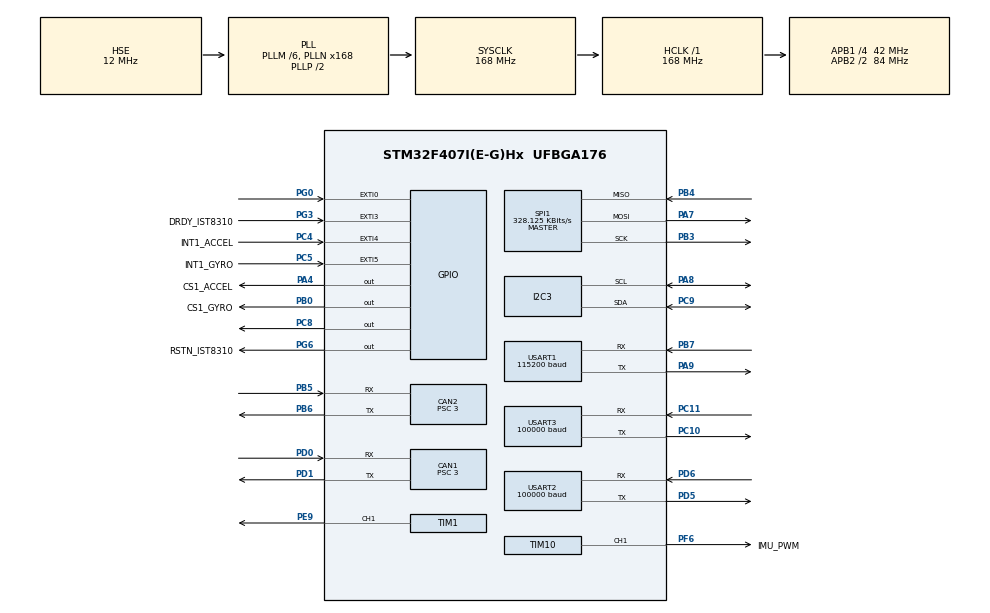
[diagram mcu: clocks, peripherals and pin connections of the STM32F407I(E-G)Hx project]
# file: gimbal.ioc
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CAN1.BS1=CAN_BS1_5TQ
CAN1.BS2=CAN_BS2_8TQ
CAN1.CalculateTimeQuantum=71.42857142857143
CAN1.Prescaler=3
CAN2.BS1=CAN_BS1_5TQ
CAN2.BS2=CAN_BS2_8TQ
CAN2.CalculateTimeQuantum=71.42857142857143
CAN2.Prescaler=3
Dma.Request0=USART3_RX
Dma.Request1=SPI1_RX
Dma.Request2=SPI1_TX
Dma.Request3=USART1_RX
Dma.Request4=USART1_TX
Dma.SPI1_RX.1.Direction=DMA_PERIPH_TO_MEMORY
Dma.SPI1_RX.1.FIFOMode=DMA_FIFOMODE_DISABLE
Dma.SPI1_RX.1.Instance=DMA2_Stream2
Dma.SPI1_RX.1.MemDataAlignment=DMA_MDATAALIGN_BYTE
Dma.SPI1_RX.1.MemInc=DMA_MINC_ENABLE
Dma.SPI1_RX.1.Mode=DMA_NORMAL
Dma.SPI1_RX.1.PeriphDataAlignment=DMA_PDATAALIGN_BYTE
Dma.SPI1_RX.1.PeriphInc=DMA_PINC_DISABLE
Dma.SPI1_RX.1.Priority=DMA_PRIORITY_VERY_HIGH
Dma.SPI1_TX.2.Direction=DMA_MEMORY_TO_PERIPH
Dma.SPI1_TX.2.FIFOMode=DMA_FIFOMODE_DISABLE
Dma.SPI1_TX.2.Instance=DMA2_Stream3
Dma.SPI1_TX.2.MemDataAlignment=DMA_MDATAALIGN_BYTE
Dma.SPI1_TX.2.MemInc=DMA_MINC_ENABLE
Dma.SPI1_TX.2.Mode=DMA_NORMAL
Dma.SPI1_TX.2.PeriphDataAlignment=DMA_PDATAALIGN_BYTE
Dma.SPI1_TX.2.PeriphInc=DMA_PINC_DISABLE
Dma.SPI1_TX.2.Priority=DMA_PRIORITY_HIGH
Dma.USART1_RX.3.Direction=DMA_PERIPH_TO_MEMORY
Dma.USART1_RX.3.FIFOMode=DMA_FIFOMODE_DISABLE
Dma.USART1_RX.3.Instance=DMA2_Stream5
Dma.USART1_RX.3.MemDataAlignment=DMA_MDATAALIGN_BYTE
Dma.USART1_RX.3.MemInc=DMA_MINC_ENABLE
Dma.USART1_RX.3.Mode=DMA_NORMAL
Dma.USART1_RX.3.PeriphDataAlignment=DMA_PDATAALIGN_BYTE
Dma.USART1_RX.3.PeriphInc=DMA_PINC_DISABLE
Dma.USART1_RX.3.Priority=DMA_PRIORITY_HIGH
Dma.USART1_TX.4.Direction=DMA_MEMORY_TO_PERIPH
Dma.USART1_TX.4.FIFOMode=DMA_FIFOMODE_DISABLE
Dma.USART1_TX.4.Instance=DMA2_Stream7
Dma.USART1_TX.4.MemDataAlignment=DMA_MDATAALIGN_BYTE
Dma.USART1_TX.4.MemInc=DMA_MINC_ENABLE
Dma.USART1_TX.4.Mode=DMA_NORMAL
Dma.USART1_TX.4.PeriphDataAlignment=DMA_PDATAALIGN_BYTE
Dma.USART1_TX.4.PeriphInc=DMA_PINC_DISABLE
Dma.USART1_TX.4.Priority=DMA_PRIORITY_MEDIUM
Dma.USART3_RX.0.Direction=DMA_PERIPH_TO_MEMORY
Dma.USART3_RX.0.FIFOMode=DMA_FIFOMODE_DISABLE
Dma.USART3_RX.0.Instance=DMA1_Stream1
Dma.USART3_RX.0.MemDataAlignment=DMA_MDATAALIGN_BYTE
Dma.USART3_RX.0.MemInc=DMA_MINC_ENABLE
Dma.USART3_RX.0.Mode=DMA_CIRCULAR
Dma.USART3_RX.0.PeriphDataAlignment=DMA_PDATAALIGN_BYTE
Dma.USART3_RX.0.PeriphInc=DMA_PINC_DISABLE
Dma.USART3_RX.0.Priority=DMA_PRIORITY_MEDIUM
I2C3.I2C_Mode=I2C_Fast
Mcu.Family=STM32F4
Mcu.Name=STM32F407I(E-G)Hx
Mcu.Package=UFBGA176
NVIC.CAN1_RX0_IRQn=true\:1\:0\:true\:false\:true\:true\:true\:true
NVIC.CAN1_TX_IRQn=true\:1\:0\:true\:false\:true\:true\:true\:true
NVIC.CAN2_RX0_IRQn=true\:1\:0\:true\:false\:true\:true\:true\:true
NVIC.DMA1_Stream1_IRQn=true\:0\:0\:false\:false\:true\:false\:true\:true
NVIC.DMA2_Stream2_IRQn=true\:0\:0\:false\:false\:true\:false\:true\:true
NVIC.DMA2_Stream3_IRQn=true\:0\:0\:false\:false\:true\:false\:true\:true
NVIC.DMA2_Stream5_IRQn=true\:0\:0\:false\:false\:true\:false\:true\:true
NVIC.DMA2_Stream7_IRQn=true\:0\:0\:false\:false\:true\:false\:true\:true
NVIC.EXTI0_IRQn=true\:2\:0\:true\:false\:true\:true\:true\:true
NVIC.EXTI3_IRQn=true\:1\:0\:true\:false\:true\:true\:true\:true
NVIC.EXTI4_IRQn=true\:1\:0\:true\:false\:true\:true\:true\:true
NVIC.EXTI9_5_IRQn=true\:1\:0\:true\:false\:true\:true\:true\:true
NVIC.PriorityGroup=NVIC_PRIORITYGROUP_2
NVIC.TIM3_IRQn=true\:1\:0\:true\:false\:true\:true\:true\:true
NVIC.TIM4_IRQn=true\:0\:0\:false\:false\:true\:true\:true\:true
NVIC.USART1_IRQn=true\:0\:0\:true\:false\:false\:true\:true\:true
NVIC.USART2_IRQn=true\:1\:0\:true\:false\:true\:true\:true\:true
NVIC.USART3_IRQn=true\:1\:0\:true\:false\:true\:true\:true\:true
PA13.Mode=Serial_Wire
PA13.Signal=SYS_JTMS-SWDIO
PA14.Mode=Serial_Wire
PA14.Signal=SYS_JTCK-SWCLK
PA4.GPIO_Label=CS1_ACCEL
PA4.GPIO_PuPd=GPIO_PULLUP
PA4.GPIO_Speed=GPIO_SPEED_FREQ_HIGH
PA4.PinState=GPIO_PIN_SET
PA4.Signal=GPIO_Output
PA7.GPIO_PuPd=GPIO_PULLUP
PA7.Mode=Full_Duplex_Master
PA7.Signal=SPI1_MOSI
PA8.Mode=I2C
PA8.Signal=I2C3_SCL
PA9.Mode=Asynchronous
PA9.Signal=USART1_TX
PB0.GPIO_Label=CS1_GYRO
PB0.GPIO_ModeDefaultOutputPP=GPIO_MODE_OUTPUT_PP
PB0.GPIO_PuPd=GPIO_PULLUP
PB0.GPIO_Speed=GPIO_SPEED_FREQ_HIGH
PB0.PinState=GPIO_PIN_SET
PB0.Signal=GPIO_Output
PB3.GPIO_PuPd=GPIO_PULLUP
PB3.Mode=Full_Duplex_Master
PB3.Signal=SPI1_SCK
PB4.GPIO_PuPd=GPIO_PULLUP
PB4.Mode=Full_Duplex_Master
PB4.Signal=SPI1_MISO
PB5.Mode=Slave
PB5.Signal=CAN2_RX
PB6.Mode=Slave
PB6.Signal=CAN2_TX
PB7.Mode=Asynchronous
PB7.Signal=USART1_RX
PC10.Mode=Asynchronous
PC10.Signal=USART3_TX
PC11.Mode=Asynchronous
PC11.Signal=USART3_RX
PC4.GPIO_Label=INT1_ACCEL
PC4.GPIO_PuPd=GPIO_PULLUP
PC4.Signal=GPXTI4
PC5.GPIO_Label=INT1_GYRO
PC5.GPIO_PuPd=GPIO_PULLUP
PC5.Signal=GPXTI5
PC8.GPIO_PuPd=GPIO_PULLUP
PC8.GPIO_Speed=GPIO_SPEED_FREQ_HIGH
PC8.PinState=GPIO_PIN_SET
PC8.Signal=GPIO_Output
PC9.Mode=I2C
PC9.Signal=I2C3_SDA
PD0.Mode=Master
PD0.Signal=CAN1_RX
PD1.Mode=Master
PD1.Signal=CAN1_TX
PD5.Mode=Asynchronous
PD5.Signal=USART2_TX
PD6.Mode=Asynchronous
PD6.Signal=USART2_RX
PE9.Signal=S_TIM1_CH1
PF6.GPIO_Label=IMU_PWM
PF6.GPIO_PuPd=GPIO_PULLUP
PF6.GPIO_Speed=GPIO_SPEED_FREQ_HIGH
PF6.Signal=S_TIM10_CH1
PG0.GPIO_PuPd=GPIO_PULLUP
PG0.Signal=GPXTI0
PG3.GPIO_Label=DRDY_IST8310
PG3.GPIO_PuPd=GPIO_PULLUP
PG3.Signal=GPXTI3
PG6.GPIO_Label=RSTN_IST8310
PG6.GPIO_PuPd=GPIO_PULLUP
PG6.GPIO_Speed=GPIO_SPEED_FREQ_HIGH
PG6.PinState=GPIO_PIN_SET
PG6.Signal=GPIO_Output
PH0-OSC_IN.Mode=HSE-External-Oscillator
PH0-OSC_IN.Signal=RCC_OSC_IN
PH1-OSC_OUT.Mode=HSE-External-Oscillator
PH1-OSC_OUT.Signal=RCC_OSC_OUT
ProjectManager.HeapSize=0x200
ProjectManager.StackSize=0x400
ProjectManager.TargetToolchain=MDK-ARM V5
RCC.48MHZClocksFreq_Value=84000000
RCC.AHBFreq_Value=168000000
RCC.APB1CLKDivider=RCC_HCLK_DIV4
RCC.APB1Freq_Value=42000000
RCC.APB1TimFreq_Value=84000000
RCC.APB2CLKDivider=RCC_HCLK_DIV2
RCC.APB2Freq_Value=84000000
RCC.APB2TimFreq_Value=168000000
RCC.CortexFreq_Value=168000000
RCC.HCLKFreq_Value=168000000
RCC.HSE_VALUE=12000000
RCC.HSI_VALUE=16000000
RCC.LSE_VALUE=32768
RCC.PLLM=6
RCC.PLLN=168
RCC.PLLSourceVirtual=RCC_PLLSOURCE_HSE
RCC.SYSCLKFreq_VALUE=168000000
RCC.SYSCLKSource=RCC_SYSCLKSOURCE_PLLCLK
RCC.VCOOutputFreq_Value=336000000
SH.S_TIM10_CH1.0=TIM10_CH1,PWM Generation1 CH1
SH.S_TIM1_CH1.0=TIM1_CH1,PWM Generation1 CH1
SPI1.BaudRatePrescaler=SPI_BAUDRATEPRESCALER_256
SPI1.CLKPhase=SPI_PHASE_2EDGE
SPI1.CLKPolarity=SPI_POLARITY_HIGH
SPI1.CalculateBaudRate=328.125 KBits/s
SPI1.Direction=SPI_DIRECTION_2LINES
SPI1.Mode=SPI_MODE_MASTER
SPI1.VirtualType=VM_MASTER
TIM1.Channel-PWM\ Generation1\ CH1=TIM_CHANNEL_1
TIM1.Period=5000-1
TIM1.Prescaler=168-1
TIM10.Channel=TIM_CHANNEL_1
TIM10.OCFastMode_PWM=TIM_OCFAST_DISABLE
TIM10.OCPolarity_1=TIM_OCPOLARITY_HIGH
TIM10.Period=4999
TIM3.AutoReloadPreload=TIM_AUTORELOAD_PRELOAD_ENABLE
TIM3.Period=84-1
TIM3.Prescaler=1000-1
TIM4.Period=84-1
TIM4.Prescaler=1000-1
TIM6.Period=1000-1
TIM6.Prescaler=840-1
USART1.BaudRate=115200
USART1.VirtualMode=VM_ASYNC
USART2.BaudRate=100000
USART2.VirtualMode=VM_ASYNC
USART3.BaudRate=100000
USART3.VirtualMode=VM_ASYNC
VP_TIM10_VS_ClockSourceINT.Mode=Enable_Timer
VP_TIM1_VS_ClockSourceINT.Mode=Internal
VP_TIM3_VS_ClockSourceINT.Mode=Internal
VP_TIM4_VS_ClockSourceINT.Mode=Internal
VP_TIM6_VS_ClockSourceINT.Mode=Enable_Timer
board=custom

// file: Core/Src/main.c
/* USER CODE BEGIN Header */
/**
  ******************************************************************************
  * @file           : main.c
  * @brief          : Main program body
  ******************************************************************************
  * @attention
  *
  * <h2><center>&copy; Copyright (c) 2021 STMicroelectronics.
  * All rights reserved.</center></h2>
  *
  * This software component is licensed by ST under BSD 3-Clause license,
  * the "License"; You may not use this file except in compliance with the
  * License. You may obtain a copy of the License at:
  *                        opensource.org/licenses/BSD-3-Clause
  *
  ******************************************************************************
  */
/* USER CODE END Header */

#include "main.h"
#include "can.h"
#include "dma.h"
#include "i2c.h"
#include "spi.h"
#include "tim.h"
#include "usart.h"
#include "gpio.h"

/* USER CODE BEGIN Includes */
#include "sent_task.h"
#include "led.h"
#include "bsp_can.h"
#include "delay.h"
#include "gimbal_task.h"
#include "chassis_task.h"
#include "shoot_task.h"
#include "bsp_imu.h"
#include "BMI088driver.h"
#include "calibrate_task.h"
#include "bsp_uart.h"
#include "blueteeth.h"
/* USER CODE END Includes */

void SystemClock_Config(void);

/* USER CODE BEGIN 0 */
fp32 gyro[3], accel[3], temp;
/* USER CODE END 0 */

int main(void)
{

  /* MCU Configuration--------------------------------------------------------*/

  /* Reset of all peripherals, Initializes the Flash interface and the Systick. */
  HAL_Init();

  /* Configure the system clock */
  SystemClock_Config();

  /* USER CODE BEGIN SysInit */
//fp32 gyro[3], accel[3], temp;
  /* USER CODE END SysInit */

  /* Initialize all configured peripherals */
  MX_GPIO_Init();
  MX_DMA_Init();
  MX_CAN1_Init();
  MX_CAN2_Init();
  MX_TIM3_Init();
  MX_USART2_UART_Init();
  MX_USART1_UART_Init();
  MX_USART3_UART_Init();
  MX_TIM6_Init();
  MX_I2C3_Init();
  MX_SPI1_Init();
  MX_TIM10_Init();
  MX_TIM4_Init();
  MX_TIM1_Init();
  /* USER CODE BEGIN 2 */
   HAL_TIM_Base_Start_IT(&htim3);
   HAL_TIM_Base_Start_IT(&htim4);
   led_init();
   Bsp_canInit();
   delay_init();
   remote_control_init();
   shoot_init();
   Gimbal_Init();
   IMU_Init();
   cali_param_init();
	 HAL_TIM_PWM_Start(&htim1,TIM_CHANNEL_1);
// uart_init();  //以前给上位机通讯用的
  /* USER CODE END 2 */

  /* Infinite loop */
while (1)
  {

  }
}

void SystemClock_Config(void)
{
  RCC_OscInitTypeDef RCC_OscInitStruct = {0};
  RCC_ClkInitTypeDef RCC_ClkInitStruct = {0};

  /** Configure the main internal regulator output voltage
  */
  __HAL_RCC_PWR_CLK_ENABLE();
  __HAL_PWR_VOLTAGESCALING_CONFIG(PWR_REGULATOR_VOLTAGE_SCALE1);
  /** Initializes the CPU, AHB and APB busses clocks
  */
  RCC_OscInitStruct.OscillatorType = RCC_OSCILLATORTYPE_HSE;
  RCC_OscInitStruct.HSEState = RCC_HSE_ON;
  RCC_OscInitStruct.PLL.PLLState = RCC_PLL_ON;
  RCC_OscInitStruct.PLL.PLLSource = RCC_PLLSOURCE_HSE;
  RCC_OscInitStruct.PLL.PLLM = 6;
  RCC_OscInitStruct.PLL.PLLN = 168;
  RCC_OscInitStruct.PLL.PLLP = RCC_PLLP_DIV2;
  RCC_OscInitStruct.PLL.PLLQ = 4;
  if (HAL_RCC_OscConfig(&RCC_OscInitStruct) != HAL_OK)
  {
    Error_Handler();
  }
  /** Initializes the CPU, AHB and APB busses clocks
  */
  RCC_ClkInitStruct.ClockType = RCC_CLOCKTYPE_HCLK|RCC_CLOCKTYPE_SYSCLK
                              |RCC_CLOCKTYPE_PCLK1|RCC_CLOCKTYPE_PCLK2;
  RCC_ClkInitStruct.SYSCLKSource = RCC_SYSCLKSOURCE_PLLCLK;
  RCC_ClkInitStruct.AHBCLKDivider = RCC_SYSCLK_DIV1;
  RCC_ClkInitStruct.APB1CLKDivider = RCC_HCLK_DIV4;
  RCC_ClkInitStruct.APB2CLKDivider = RCC_HCLK_DIV2;

  if (HAL_RCC_ClockConfig(&RCC_ClkInitStruct, FLASH_LATENCY_5) != HAL_OK)
  {
    Error_Handler();
  }
}

void Error_Handler(void)
{
}

/************************ (C) COPYRIGHT STMicroelectronics *****END OF FILE****/
